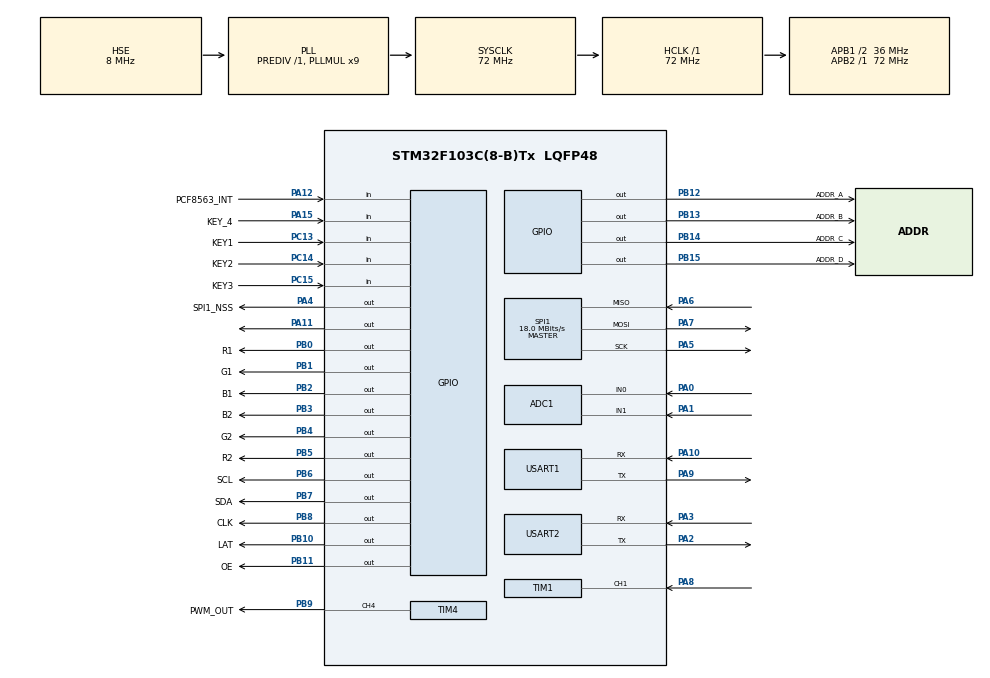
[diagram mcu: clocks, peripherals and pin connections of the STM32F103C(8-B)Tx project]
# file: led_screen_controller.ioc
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ADC1.Channel-2\#ChannelRegularConversion=ADC_CHANNEL_0
ADC1.NbrOfConversionFlag=1
ADC1.Rank-2\#ChannelRegularConversion=1
ADC1.SamplingTime-2\#ChannelRegularConversion=ADC_SAMPLETIME_1CYCLE_5
ADC1.master=1
Mcu.Family=STM32F1
Mcu.Name=STM32F103C(8-B)Tx
Mcu.Package=LQFP48
NVIC.PriorityGroup=NVIC_PRIORITYGROUP_4
NVIC.TIM1_UP_IRQn=true\:7\:0\:true\:false\:true\:true\:true
NVIC.TIM3_IRQn=true\:15\:0\:true\:false\:true\:true\:true
PA0-WKUP.Signal=ADCx_IN0
PA1.Signal=ADCx_IN1
PA10.GPIO_PuPd=GPIO_NOPULL
PA10.Mode=Asynchronous
PA10.Signal=USART1_RX
PA11.Signal=GPIO_Output
PA12.GPIO_Label=PCF8563_INT
PA12.GPIO_PuPd=GPIO_PULLUP
PA12.Signal=GPIO_Input
PA13.Mode=Serial_Wire
PA13.Signal=SYS_JTMS-SWDIO
PA14.Mode=Serial_Wire
PA14.Signal=SYS_JTCK-SWCLK
PA15.GPIO_Label=KEY_4
PA15.GPIO_PuPd=GPIO_PULLUP
PA15.Signal=GPIO_Input
PA2.GPIO_Speed=GPIO_SPEED_FREQ_HIGH
PA2.Mode=Asynchronous
PA2.Signal=USART2_TX
PA3.GPIO_PuPd=GPIO_NOPULL
PA3.Mode=Asynchronous
PA3.Signal=USART2_RX
PA4.GPIO_Label=SPI1_NSS
PA4.GPIO_PuPd=GPIO_PULLUP
PA4.GPIO_Speed=GPIO_SPEED_FREQ_HIGH
PA4.PinState=GPIO_PIN_SET
PA4.Signal=GPIO_Output
PA5.GPIO_Speed=GPIO_SPEED_FREQ_HIGH
PA5.Mode=Full_Duplex_Master
PA5.Signal=SPI1_SCK
PA6.GPIO_PuPd=GPIO_NOPULL
PA6.Mode=Full_Duplex_Master
PA6.Signal=SPI1_MISO
PA7.GPIO_Speed=GPIO_SPEED_FREQ_HIGH
PA7.Mode=Full_Duplex_Master
PA7.Signal=SPI1_MOSI
PA8.Signal=S_TIM1_CH1
PA9.GPIO_Speed=GPIO_SPEED_FREQ_HIGH
PA9.Mode=Asynchronous
PA9.Signal=USART1_TX
PB0.GPIO_Label=R1
PB0.GPIO_PuPd=GPIO_PULLUP
PB0.GPIO_Speed=GPIO_SPEED_FREQ_HIGH
PB0.PinState=GPIO_PIN_SET
PB0.Signal=GPIO_Output
PB1.GPIO_Label=G1
PB1.GPIO_PuPd=GPIO_PULLUP
PB1.GPIO_Speed=GPIO_SPEED_FREQ_HIGH
PB1.PinState=GPIO_PIN_SET
PB1.Signal=GPIO_Output
PB10.GPIO_Label=LAT
PB10.GPIO_PuPd=GPIO_PULLUP
PB10.GPIO_Speed=GPIO_SPEED_FREQ_HIGH
PB10.PinState=GPIO_PIN_SET
PB10.Signal=GPIO_Output
PB11.GPIO_Label=OE
PB11.GPIO_PuPd=GPIO_PULLUP
PB11.GPIO_Speed=GPIO_SPEED_FREQ_HIGH
PB11.PinState=GPIO_PIN_SET
PB11.Signal=GPIO_Output
PB12.GPIO_Label=ADDR_A
PB12.GPIO_PuPd=GPIO_PULLUP
PB12.GPIO_Speed=GPIO_SPEED_FREQ_HIGH
PB12.PinState=GPIO_PIN_SET
PB12.Signal=GPIO_Output
PB13.GPIO_Label=ADDR_B
PB13.GPIO_PuPd=GPIO_PULLUP
PB13.GPIO_Speed=GPIO_SPEED_FREQ_HIGH
PB13.PinState=GPIO_PIN_SET
PB13.Signal=GPIO_Output
PB14.GPIO_Label=ADDR_C
PB14.GPIO_PuPd=GPIO_PULLUP
PB14.GPIO_Speed=GPIO_SPEED_FREQ_HIGH
PB14.PinState=GPIO_PIN_SET
PB14.Signal=GPIO_Output
PB15.GPIO_Label=ADDR_D
PB15.GPIO_PuPd=GPIO_PULLUP
PB15.GPIO_Speed=GPIO_SPEED_FREQ_HIGH
PB15.PinState=GPIO_PIN_SET
PB15.Signal=GPIO_Output
PB2.GPIO_Label=B1
PB2.GPIO_PuPd=GPIO_PULLUP
PB2.GPIO_Speed=GPIO_SPEED_FREQ_HIGH
PB2.PinState=GPIO_PIN_SET
PB2.Signal=GPIO_Output
PB3.GPIO_Label=B2
PB3.GPIO_PuPd=GPIO_PULLUP
PB3.GPIO_Speed=GPIO_SPEED_FREQ_HIGH
PB3.PinState=GPIO_PIN_SET
PB3.Signal=GPIO_Output
PB4.GPIO_Label=G2
PB4.GPIO_PuPd=GPIO_PULLUP
PB4.GPIO_Speed=GPIO_SPEED_FREQ_HIGH
PB4.PinState=GPIO_PIN_SET
PB4.Signal=GPIO_Output
PB5.GPIO_Label=R2
PB5.GPIO_ModeDefaultOutputPP=GPIO_MODE_OUTPUT_PP
PB5.GPIO_PuPd=GPIO_PULLUP
PB5.GPIO_Speed=GPIO_SPEED_FREQ_HIGH
PB5.PinState=GPIO_PIN_SET
PB5.Signal=GPIO_Output
PB6.GPIO_Label=SCL
PB6.GPIO_ModeDefaultOutputPP=GPIO_MODE_OUTPUT_PP
PB6.GPIO_PuPd=GPIO_PULLUP
PB6.GPIO_Speed=GPIO_SPEED_FREQ_HIGH
PB6.PinState=GPIO_PIN_SET
PB6.Signal=GPIO_Output
PB7.GPIO_Label=SDA
PB7.GPIO_ModeDefaultOutputPP=GPIO_MODE_OUTPUT_PP
PB7.GPIO_PuPd=GPIO_PULLUP
PB7.GPIO_Speed=GPIO_SPEED_FREQ_HIGH
PB7.PinState=GPIO_PIN_SET
PB7.Signal=GPIO_Output
PB8.GPIO_Label=CLK
PB8.GPIO_ModeDefaultOutputPP=GPIO_MODE_OUTPUT_PP
PB8.GPIO_PuPd=GPIO_PULLUP
PB8.GPIO_Speed=GPIO_SPEED_FREQ_HIGH
PB8.PinState=GPIO_PIN_SET
PB8.Signal=GPIO_Output
PB9.GPIO_Label=PWM_OUT
PB9.GPIO_ModeDefaultPP=GPIO_MODE_AF_PP
PB9.GPIO_Speed=GPIO_SPEED_FREQ_HIGH
PB9.Signal=S_TIM4_CH4
PC13-TAMPER-RTC.GPIO_Label=KEY1
PC13-TAMPER-RTC.GPIO_PuPd=GPIO_PULLUP
PC13-TAMPER-RTC.Signal=GPIO_Input
PC14-OSC32_IN.GPIO_Label=KEY2
PC14-OSC32_IN.GPIO_PuPd=GPIO_PULLUP
PC14-OSC32_IN.Signal=GPIO_Input
PC15-OSC32_OUT.GPIO_Label=KEY3
PC15-OSC32_OUT.GPIO_PuPd=GPIO_PULLUP
PC15-OSC32_OUT.Signal=GPIO_Input
PD0-OSC_IN.Mode=HSE-External-Oscillator
PD0-OSC_IN.Signal=RCC_OSC_IN
PD1-OSC_OUT.Mode=HSE-External-Oscillator
PD1-OSC_OUT.Signal=RCC_OSC_OUT
ProjectManager.HeapSize=0x0
ProjectManager.StackSize=0x400
ProjectManager.TargetToolchain=MDK-ARM V5
RCC.ADCPresc=RCC_ADCPCLK2_DIV6
RCC.AHBFreq_Value=72000000
RCC.APB1CLKDivider=RCC_HCLK_DIV2
RCC.APB1Freq_Value=36000000
RCC.APB1TimFreq_Value=72000000
RCC.APB2Freq_Value=72000000
RCC.APB2TimFreq_Value=72000000
RCC.HCLKFreq_Value=72000000
RCC.PLLMUL=RCC_PLL_MUL9
RCC.PLLSourceVirtual=RCC_PLLSOURCE_HSE
RCC.SYSCLKFreq_VALUE=72000000
RCC.SYSCLKSource=RCC_SYSCLKSOURCE_PLLCLK
RCC.USBFreq_Value=72000000
SH.ADCx_IN0.0=ADC1_IN0,IN0
SH.ADCx_IN1.0=ADC1_IN1,IN1
SH.S_TIM1_CH1.0=TIM1_CH1,Input_Capture1_from_TI1
SH.S_TIM4_CH4.0=TIM4_CH4,PWM Generation4 CH4
SPI1.BaudRatePrescaler=SPI_BAUDRATEPRESCALER_4
SPI1.CalculateBaudRate=18.0 MBits/s
SPI1.Direction=SPI_DIRECTION_2LINES
SPI1.Mode=SPI_MODE_MASTER
SPI1.VirtualType=VM_MASTER
TIM1.AutoReloadPreload=TIM_AUTORELOAD_PRELOAD_ENABLE
TIM1.Channel-Input_Capture1_from_TI1=TIM_CHANNEL_1
TIM1.Period=99
TIM1.Prescaler=29
TIM3.AutoReloadPreload=TIM_AUTORELOAD_PRELOAD_ENABLE
TIM3.Period=99
TIM3.Prescaler=7199
TIM4.AutoReloadPreload=TIM_AUTORELOAD_PRELOAD_ENABLE
TIM4.Channel-PWM\ Generation4\ CH4=TIM_CHANNEL_4
TIM4.Period=999
TIM4.Prescaler=71
TIM4.Pulse-PWM\ Generation4\ CH4=450
USART1.VirtualMode=VM_ASYNC
USART2.VirtualMode=VM_ASYNC
VP_TIM1_VS_ClockSourceINT.Mode=Internal
VP_TIM3_VS_ClockSourceINT.Mode=Internal
VP_TIM4_VS_ClockSourceINT.Mode=Internal
board=custom

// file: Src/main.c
/* USER CODE BEGIN Header */
/**
  ******************************************************************************
  * @file           : main.c
  * @brief          : Main program body
  ******************************************************************************
  * @attention
  *
  * Copyright (c) 2022 STMicroelectronics.
  * All rights reserved.
  *
  * This software is licensed under terms that can be found in the LICENSE file
  * in the root directory of this software component.
  * If no LICENSE file comes with this software, it is provided AS-IS.
  *
  ******************************************************************************
  */

/* USER CODE END Header */

#include "main.h"

/* USER CODE BEGIN Includes */
#include <stdio.h>
#include <stdlib.h>
#include <stdint.h>
#include <string.h>
#include <math.h>
#include "delay.h"
#include "usmart.h"
#include "usart1.h"
#include "key.h"
#include "i2c.h"
#include "mgl.h"
#include "led_screen.h"
#include "sfud.h"
#include "stm32f1xx_ll_spi.h"
#include "stm32f1xx_ll_usart.h"
#include "ringbuffer.h"
#include "utils.h"
#include "font_lite.h"
#include "menu.h"
#include "clock.h"
#include "audio_visual.h"
#include "PCF8563.h"
#include "SHT30.h"

/* USER CODE END Includes */

ADC_HandleTypeDef hadc1;

SPI_HandleTypeDef hspi1;

TIM_HandleTypeDef htim1;
TIM_HandleTypeDef htim3;
TIM_HandleTypeDef htim4;

UART_HandleTypeDef huart1;
UART_HandleTypeDef huart2;

/* USER CODE BEGIN PV */
uint8_t strbuf[32];
uint8_t rb_buf[512];
rb_handle rb_ctx;

sfud_err result = SFUD_SUCCESS;
// sfud_flash *flash = sfud_get_device_table() + 0;
sfud_flash *flash = NULL;

menu_node *menu_p = NULL;

/* USER CODE END PV */

void SystemClock_Config(void);
static void MX_GPIO_Init(void);
static void MX_ADC1_Init(void);
static void MX_SPI1_Init(void);
static void MX_TIM4_Init(void);
static void MX_USART1_UART_Init(void);
static void MX_USART2_UART_Init(void);
static void MX_TIM1_Init(void);
static void MX_TIM3_Init(void);

int main(void)
{
  /* USER CODE BEGIN 1 */
	uint8_t key = 0;
	uint8_t *spi_wbuf = NULL;
	int32_t spi_waddr = 0;
	int32_t spi_wlen = 0;
	int32_t ret = 0;

  /* USER CODE END 1 */

  /* MCU Configuration--------------------------------------------------------*/

  /* Reset of all peripherals, Initializes the Flash interface and the Systick. */
  HAL_Init();

  /* Configure the system clock */
  SystemClock_Config();

  /* Initialize all configured peripherals */
  MX_GPIO_Init();
  MX_ADC1_Init();
  MX_SPI1_Init();
  MX_TIM4_Init();
  MX_USART1_UART_Init();
  MX_USART2_UART_Init();
  MX_TIM1_Init();
  MX_TIM3_Init();
  /* USER CODE BEGIN 2 */
	LL_SPI_Enable(SPI1);//SPI初始化完成后手动开启SPI，否则后面我自己写的SPI收发函数不能工作
	HAL_TIM_Base_Start_IT(&htim1);
	HAL_TIM_Base_Start_IT(&htim3);

	LL_USART_EnableIT_RXNE(USART1);//接收缓冲区非空中断使能
	HAL_NVIC_SetPriority(USART1_IRQn, 1, 0);
	HAL_NVIC_EnableIRQ(USART1_IRQn);
	usmart_dev.init(72);//串口调试工具的初始化，这个参数是MCU主频，单位MHz

  /* USER CODE END 2 */

  /* Infinite loop */
  /* USER CODE BEGIN WHILE */
  	flash = sfud_get_device(0);
  	ret = sfud_init();
	printf("sfud_init return %d\r\n", ret);

	rb_init_sta(&rb_ctx, rb_buf, sizeof(rb_buf));

	mgl_init(NULL, 0);
	extern uint16_t *gram_rgb_565;
	gram_rgb_565 = (uint16_t *)mgl_get_gram_addr();

	IICInit();
	PCF8563_Init();
	SHT30Init();
	audio_visual_init();

	printf("sys init finish\r\n");

  while (1)
  {
	if(USART1_RX_RAW)
	{
		spi_waddr = 0;
		HAL_TIM_Base_Stop_IT(&htim1);
		HAL_TIM_Base_Stop_IT(&htim3);
		HAL_Delay(100);
		while(1)
		{
			spi_wlen = 256;
			spi_wbuf = rb_preread(&rb_ctx, &spi_wlen);
			if(spi_wbuf != NULL)
			{
				result = sfud_write(flash, spi_waddr, 256, spi_wbuf);
				if (result == SFUD_SUCCESS) {
					rb_preread_free(&rb_ctx, 256);
					spi_waddr += 256;
					printf("write finish at 0x%08X\r\n", spi_waddr);
				} else {
					printf("write failed at 0x%08X\r\n", spi_waddr);
					break;
				}
			}
		}
	}

	key = key_read();

	if(KEY_IS_RISING(key, 1))
	{
		menu_p = &menu_node_root;
		key = 0;
		menu_show_select_item(menu_p);
	}
	if(KEY_IS_RISING(key, 2))
	{
		key = 0;
		audio_visual();
	}
	if(KEY_IS_RISING(key, 3))
	{
		key = 0;
		show_temperature();
	}
	if(KEY_IS_RISING(key, 4))
	{
		key = 0;
		show_humidity();
	}

	if(menu_p == NULL)
	{
		set_fg_color(color_map[g_screen_color_index]);
		set_bg_color(0x0000);
		display_time();
		HAL_Delay(200);
	}

	while(menu_p)
	{
		HAL_Delay(100);

		key = key_read();
		// printf("key val %d", key);

		if(KEY_IS_RISING(key, 3))
		{
			if(menu_p->cursor > 0)
			{
				menu_p->cursor -= 1;
			}
			if(menu_p->head > menu_p->cursor)
			{
				menu_p->head = menu_p->cursor;
			}
			menu_show_select_item(menu_p);
		}
		else if(KEY_IS_RISING(key, 4))
		{
			if(menu_p->cursor < menu_p->num - 1)
			{
				menu_p->cursor += 1;
			}
			if(menu_p->head + MENU_MAX_SHOW_NUM - 1 < menu_p->cursor)
			{
				menu_p->head = menu_p->cursor - (MENU_MAX_SHOW_NUM - 1);
			}
			menu_show_select_item(menu_p);
		}
		else if(KEY_IS_RISING(key, 1))
		{
			if(menu_p->item[menu_p->cursor].function != NULL)
			{
				menu_p->item[menu_p->cursor].function();
			}
			else if(menu_p->item[menu_p->cursor].child != NULL)
			{
				menu_p = menu_p->item[menu_p->cursor].child;
			}
			else
			{
				// menu_p = menu_p->parent;
				// if(menu_p == NULL)
				// {
				// 	// 直接返回待机界面
				// 	return;
				// }
			}
			menu_show_select_item(menu_p);
		}
		else if(KEY_IS_RISING(key, 2))
		{
			menu_p = NULL;
			mgl_clean();
		}
		key = 0;
	}

	// if(key)
	// {
	// 	printf("key %d \r\n", key);
	// 	key = 0;
	// }
	HAL_Delay(20);

    /* USER CODE END WHILE */

  }
}

void SystemClock_Config(void)
{
  RCC_OscInitTypeDef RCC_OscInitStruct = {0};
  RCC_ClkInitTypeDef RCC_ClkInitStruct = {0};
  RCC_PeriphCLKInitTypeDef PeriphClkInit = {0};

  /** Initializes the RCC Oscillators according to the specified parameters
  * in the RCC_OscInitTypeDef structure.
  */
  RCC_OscInitStruct.OscillatorType = RCC_OSCILLATORTYPE_HSE;
  RCC_OscInitStruct.HSEState = RCC_HSE_ON;
  RCC_OscInitStruct.HSEPredivValue = RCC_HSE_PREDIV_DIV1;
  RCC_OscInitStruct.HSIState = RCC_HSI_ON;
  RCC_OscInitStruct.PLL.PLLState = RCC_PLL_ON;
  RCC_OscInitStruct.PLL.PLLSource = RCC_PLLSOURCE_HSE;
  RCC_OscInitStruct.PLL.PLLMUL = RCC_PLL_MUL9;
  if (HAL_RCC_OscConfig(&RCC_OscInitStruct) != HAL_OK)
  {
    Error_Handler();
  }
  /** Initializes the CPU, AHB and APB buses clocks
  */
  RCC_ClkInitStruct.ClockType = RCC_CLOCKTYPE_HCLK|RCC_CLOCKTYPE_SYSCLK
                              |RCC_CLOCKTYPE_PCLK1|RCC_CLOCKTYPE_PCLK2;
  RCC_ClkInitStruct.SYSCLKSource = RCC_SYSCLKSOURCE_PLLCLK;
  RCC_ClkInitStruct.AHBCLKDivider = RCC_SYSCLK_DIV1;
  RCC_ClkInitStruct.APB1CLKDivider = RCC_HCLK_DIV2;
  RCC_ClkInitStruct.APB2CLKDivider = RCC_HCLK_DIV1;

  if (HAL_RCC_ClockConfig(&RCC_ClkInitStruct, FLASH_LATENCY_2) != HAL_OK)
  {
    Error_Handler();
  }
  PeriphClkInit.PeriphClockSelection = RCC_PERIPHCLK_ADC;
  PeriphClkInit.AdcClockSelection = RCC_ADCPCLK2_DIV6;
  if (HAL_RCCEx_PeriphCLKConfig(&PeriphClkInit) != HAL_OK)
  {
    Error_Handler();
  }
}

static void MX_ADC1_Init(void)
{

  ADC_ChannelConfTypeDef sConfig = {0};

  /** Common config
  */
  hadc1.Instance = ADC1;
  hadc1.Init.ScanConvMode = ADC_SCAN_DISABLE;
  hadc1.Init.ContinuousConvMode = DISABLE;
  hadc1.Init.DiscontinuousConvMode = DISABLE;
  hadc1.Init.ExternalTrigConv = ADC_SOFTWARE_START;
  hadc1.Init.DataAlign = ADC_DATAALIGN_RIGHT;
  hadc1.Init.NbrOfConversion = 1;
  if (HAL_ADC_Init(&hadc1) != HAL_OK)
  {
    Error_Handler();
  }
  /** Configure Regular Channel
  */
  sConfig.Channel = ADC_CHANNEL_0;
  sConfig.Rank = ADC_REGULAR_RANK_1;
  sConfig.SamplingTime = ADC_SAMPLETIME_1CYCLE_5;
  if (HAL_ADC_ConfigChannel(&hadc1, &sConfig) != HAL_OK)
  {
    Error_Handler();
  }

}

static void MX_SPI1_Init(void)
{

  /* SPI1 parameter configuration*/
  hspi1.Instance = SPI1;
  hspi1.Init.Mode = SPI_MODE_MASTER;
  hspi1.Init.Direction = SPI_DIRECTION_2LINES;
  hspi1.Init.DataSize = SPI_DATASIZE_8BIT;
  hspi1.Init.CLKPolarity = SPI_POLARITY_LOW;
  hspi1.Init.CLKPhase = SPI_PHASE_1EDGE;
  hspi1.Init.NSS = SPI_NSS_SOFT;
  hspi1.Init.BaudRatePrescaler = SPI_BAUDRATEPRESCALER_4;
  hspi1.Init.FirstBit = SPI_FIRSTBIT_MSB;
  hspi1.Init.TIMode = SPI_TIMODE_DISABLE;
  hspi1.Init.CRCCalculation = SPI_CRCCALCULATION_DISABLE;
  hspi1.Init.CRCPolynomial = 10;
  if (HAL_SPI_Init(&hspi1) != HAL_OK)
  {
    Error_Handler();
  }

}

static void MX_TIM1_Init(void)
{

  TIM_ClockConfigTypeDef sClockSourceConfig = {0};
  TIM_MasterConfigTypeDef sMasterConfig = {0};
  TIM_IC_InitTypeDef sConfigIC = {0};

  htim1.Instance = TIM1;
  htim1.Init.Prescaler = 29;
  htim1.Init.CounterMode = TIM_COUNTERMODE_UP;
  htim1.Init.Period = 99;
  htim1.Init.ClockDivision = TIM_CLOCKDIVISION_DIV1;
  htim1.Init.RepetitionCounter = 0;
  htim1.Init.AutoReloadPreload = TIM_AUTORELOAD_PRELOAD_ENABLE;
  if (HAL_TIM_Base_Init(&htim1) != HAL_OK)
  {
    Error_Handler();
  }
  sClockSourceConfig.ClockSource = TIM_CLOCKSOURCE_INTERNAL;
  if (HAL_TIM_ConfigClockSource(&htim1, &sClockSourceConfig) != HAL_OK)
  {
    Error_Handler();
  }
  if (HAL_TIM_IC_Init(&htim1) != HAL_OK)
  {
    Error_Handler();
  }
  sMasterConfig.MasterOutputTrigger = TIM_TRGO_RESET;
  sMasterConfig.MasterSlaveMode = TIM_MASTERSLAVEMODE_DISABLE;
  if (HAL_TIMEx_MasterConfigSynchronization(&htim1, &sMasterConfig) != HAL_OK)
  {
    Error_Handler();
  }
  sConfigIC.ICPolarity = TIM_INPUTCHANNELPOLARITY_RISING;
  sConfigIC.ICSelection = TIM_ICSELECTION_DIRECTTI;
  sConfigIC.ICPrescaler = TIM_ICPSC_DIV1;
  sConfigIC.ICFilter = 0;
  if (HAL_TIM_IC_ConfigChannel(&htim1, &sConfigIC, TIM_CHANNEL_1) != HAL_OK)
  {
    Error_Handler();
  }

}

static void MX_TIM3_Init(void)
{

  TIM_ClockConfigTypeDef sClockSourceConfig = {0};
  TIM_MasterConfigTypeDef sMasterConfig = {0};

  htim3.Instance = TIM3;
  htim3.Init.Prescaler = 7199;
  htim3.Init.CounterMode = TIM_COUNTERMODE_UP;
  htim3.Init.Period = 99;
  htim3.Init.ClockDivision = TIM_CLOCKDIVISION_DIV1;
  htim3.Init.AutoReloadPreload = TIM_AUTORELOAD_PRELOAD_ENABLE;
  if (HAL_TIM_Base_Init(&htim3) != HAL_OK)
  {
    Error_Handler();
  }
  sClockSourceConfig.ClockSource = TIM_CLOCKSOURCE_INTERNAL;
  if (HAL_TIM_ConfigClockSource(&htim3, &sClockSourceConfig) != HAL_OK)
  {
    Error_Handler();
  }
  sMasterConfig.MasterOutputTrigger = TIM_TRGO_RESET;
  sMasterConfig.MasterSlaveMode = TIM_MASTERSLAVEMODE_DISABLE;
  if (HAL_TIMEx_MasterConfigSynchronization(&htim3, &sMasterConfig) != HAL_OK)
  {
    Error_Handler();
  }

}

static void MX_TIM4_Init(void)
{

  TIM_ClockConfigTypeDef sClockSourceConfig = {0};
  TIM_MasterConfigTypeDef sMasterConfig = {0};
  TIM_OC_InitTypeDef sConfigOC = {0};

  htim4.Instance = TIM4;
  htim4.Init.Prescaler = 71;
  htim4.Init.CounterMode = TIM_COUNTERMODE_UP;
  htim4.Init.Period = 999;
  htim4.Init.ClockDivision = TIM_CLOCKDIVISION_DIV1;
  htim4.Init.AutoReloadPreload = TIM_AUTORELOAD_PRELOAD_ENABLE;
  if (HAL_TIM_Base_Init(&htim4) != HAL_OK)
  {
    Error_Handler();
  }
  sClockSourceConfig.ClockSource = TIM_CLOCKSOURCE_INTERNAL;
  if (HAL_TIM_ConfigClockSource(&htim4, &sClockSourceConfig) != HAL_OK)
  {
    Error_Handler();
  }
  if (HAL_TIM_PWM_Init(&htim4) != HAL_OK)
  {
    Error_Handler();
  }
  sMasterConfig.MasterOutputTrigger = TIM_TRGO_RESET;
  sMasterConfig.MasterSlaveMode = TIM_MASTERSLAVEMODE_DISABLE;
  if (HAL_TIMEx_MasterConfigSynchronization(&htim4, &sMasterConfig) != HAL_OK)
  {
    Error_Handler();
  }
  sConfigOC.OCMode = TIM_OCMODE_PWM1;
  sConfigOC.Pulse = 450;
  sConfigOC.OCPolarity = TIM_OCPOLARITY_HIGH;
  sConfigOC.OCFastMode = TIM_OCFAST_DISABLE;
  if (HAL_TIM_PWM_ConfigChannel(&htim4, &sConfigOC, TIM_CHANNEL_4) != HAL_OK)
  {
    Error_Handler();
  }
  HAL_TIM_MspPostInit(&htim4);

}

static void MX_USART1_UART_Init(void)
{

  huart1.Instance = USART1;
  huart1.Init.BaudRate = 115200;
  huart1.Init.WordLength = UART_WORDLENGTH_8B;
  huart1.Init.StopBits = UART_STOPBITS_1;
  huart1.Init.Parity = UART_PARITY_NONE;
  huart1.Init.Mode = UART_MODE_TX_RX;
  huart1.Init.HwFlowCtl = UART_HWCONTROL_NONE;
  huart1.Init.OverSampling = UART_OVERSAMPLING_16;
  if (HAL_UART_Init(&huart1) != HAL_OK)
  {
    Error_Handler();
  }

}

static void MX_USART2_UART_Init(void)
{

  huart2.Instance = USART2;
  huart2.Init.BaudRate = 115200;
  huart2.Init.WordLength = UART_WORDLENGTH_8B;
  huart2.Init.StopBits = UART_STOPBITS_1;
  huart2.Init.Parity = UART_PARITY_NONE;
  huart2.Init.Mode = UART_MODE_TX_RX;
  huart2.Init.HwFlowCtl = UART_HWCONTROL_NONE;
  huart2.Init.OverSampling = UART_OVERSAMPLING_16;
  if (HAL_UART_Init(&huart2) != HAL_OK)
  {
    Error_Handler();
  }

}

static void MX_GPIO_Init(void)
{
  GPIO_InitTypeDef GPIO_InitStruct = {0};

  /* GPIO Ports Clock Enable */
  __HAL_RCC_GPIOC_CLK_ENABLE();
  __HAL_RCC_GPIOD_CLK_ENABLE();
  __HAL_RCC_GPIOA_CLK_ENABLE();
  __HAL_RCC_GPIOB_CLK_ENABLE();

  /*Configure GPIO pin Output Level */
  HAL_GPIO_WritePin(SPI1_NSS_GPIO_Port, SPI1_NSS_Pin, GPIO_PIN_SET);

  /*Configure GPIO pin Output Level */
  HAL_GPIO_WritePin(GPIOB, R1_Pin|G1_Pin|B1_Pin|LAT_Pin
                          |OE_Pin|ADDR_A_Pin|ADDR_B_Pin|ADDR_C_Pin
                          |ADDR_D_Pin|B2_Pin|G2_Pin|R2_Pin
                          |SCL_Pin|SDA_Pin|CLK_Pin, GPIO_PIN_SET);

  /*Configure GPIO pin Output Level */
  HAL_GPIO_WritePin(GPIOA, GPIO_PIN_11, GPIO_PIN_RESET);

  /*Configure GPIO pins : KEY1_Pin KEY2_Pin KEY3_Pin */
  GPIO_InitStruct.Pin = KEY1_Pin|KEY2_Pin|KEY3_Pin;
  GPIO_InitStruct.Mode = GPIO_MODE_INPUT;
  GPIO_InitStruct.Pull = GPIO_PULLUP;
  HAL_GPIO_Init(GPIOC, &GPIO_InitStruct);

  /*Configure GPIO pin : SPI1_NSS_Pin */
  GPIO_InitStruct.Pin = SPI1_NSS_Pin;
  GPIO_InitStruct.Mode = GPIO_MODE_OUTPUT_PP;
  GPIO_InitStruct.Pull = GPIO_PULLUP;
  GPIO_InitStruct.Speed = GPIO_SPEED_FREQ_HIGH;
  HAL_GPIO_Init(SPI1_NSS_GPIO_Port, &GPIO_InitStruct);

  /*Configure GPIO pins : R1_Pin G1_Pin B1_Pin LAT_Pin
                           OE_Pin ADDR_A_Pin ADDR_B_Pin ADDR_C_Pin
                           ADDR_D_Pin B2_Pin G2_Pin R2_Pin
                           SCL_Pin SDA_Pin CLK_Pin */
  GPIO_InitStruct.Pin = R1_Pin|G1_Pin|B1_Pin|LAT_Pin
                          |OE_Pin|ADDR_A_Pin|ADDR_B_Pin|ADDR_C_Pin
                          |ADDR_D_Pin|B2_Pin|G2_Pin|R2_Pin
                          |SCL_Pin|SDA_Pin|CLK_Pin;
  GPIO_InitStruct.Mode = GPIO_MODE_OUTPUT_PP;
  GPIO_InitStruct.Pull = GPIO_PULLUP;
  GPIO_InitStruct.Speed = GPIO_SPEED_FREQ_HIGH;
  HAL_GPIO_Init(GPIOB, &GPIO_InitStruct);

  /*Configure GPIO pin : PA11 */
  GPIO_InitStruct.Pin = GPIO_PIN_11;
  GPIO_InitStruct.Mode = GPIO_MODE_OUTPUT_PP;
  GPIO_InitStruct.Pull = GPIO_NOPULL;
  GPIO_InitStruct.Speed = GPIO_SPEED_FREQ_LOW;
  HAL_GPIO_Init(GPIOA, &GPIO_InitStruct);

  /*Configure GPIO pins : PCF8563_INT_Pin KEY_4_Pin */
  GPIO_InitStruct.Pin = PCF8563_INT_Pin|KEY_4_Pin;
  GPIO_InitStruct.Mode = GPIO_MODE_INPUT;
  GPIO_InitStruct.Pull = GPIO_PULLUP;
  HAL_GPIO_Init(GPIOA, &GPIO_InitStruct);

}

void Error_Handler(void)
{
  __disable_irq();
  while (1)
  {
  }
}
